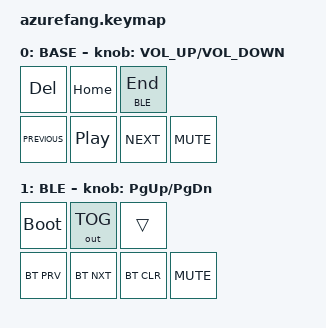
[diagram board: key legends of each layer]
#include <behaviors.dtsi>
#include <dt-bindings/zmk/keys.h>
#include <dt-bindings/zmk/bt.h>
#include <dt-bindings/zmk/outputs.h>

#define BASE 0
#define BLE 1

/ {
    keymap {
        compatible = "zmk,keymap";

        base_layer {
			label = "BASE";
            bindings = <
            &kp DELETE   &kp HOME   &lt BLE END
            &kp C_PREVIOUS   &kp C_PLAY_PAUSE   &kp C_NEXT   &kp C_MUTE
            >;

            sensor-bindings = <&inc_dec_kp C_VOLUME_UP C_VOLUME_DOWN>;
        };
		
		ble_layer {
			label = "BLE";
            bindings = <
            &bootloader   &out OUT_TOG   &trans
            &bt BT_PRV   &bt BT_NXT   &bt BT_CLR   &kp C_MUTE
            >;
			
			sensor-bindings = <&inc_dec_kp PG_UP PG_DN>;
        };
    };
};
